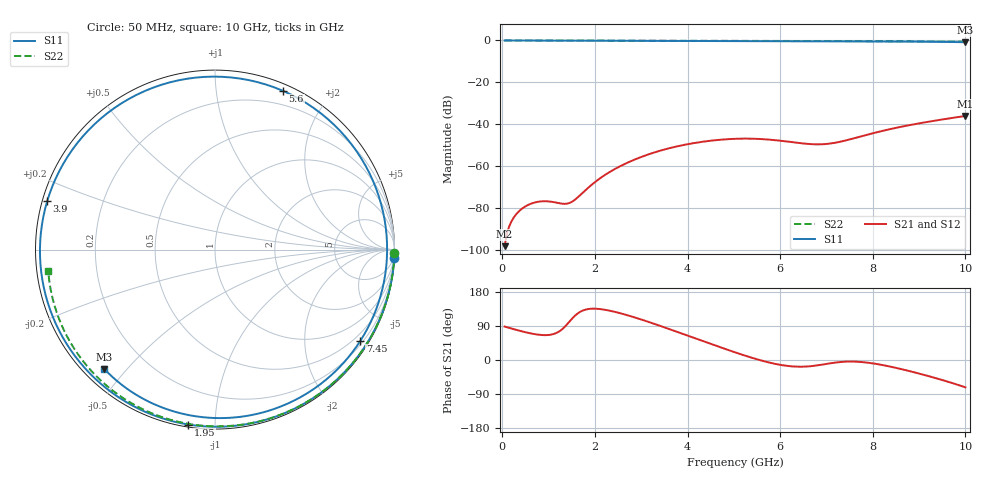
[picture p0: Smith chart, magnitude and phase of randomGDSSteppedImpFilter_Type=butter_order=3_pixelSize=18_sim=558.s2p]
! freq	dB(S11)	phase(S11)	dB(S12)	phase(S12)
!  dB(S21)	phase(S21)	dB(S22)	phase(S22)
!S-par simulation data
#  GHz  S  DB  R 50
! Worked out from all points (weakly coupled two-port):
!   200 points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, 50 MHz to 10 GHz, reference 50 ohm
!   highest |S21| = -35.97 dB at 10 GHz (marker M1); lowest = -98.0 dB at 50 MHz (marker M2)
!   lowest |S11| = -0.9 dB at 10 GHz (marker M3), VSWR 20.45, Z = 2.91 - j21.8 ohm
!   |S11| at or under -10 dB: nowhere
!   |S22| runs from -0.6 to 0.0 dB; largest |S21 - S12| = 0
!   S11 on the Smith chart (normalised r, x): 50 MHz: 0, -44; 1.95 GHz: 0.01, -0.86; 3.9 GHz: 0.01, +0.14; 5.6 GHz: 0.06, +1.51; 7.45 GHz: 0.29, -3.46; 10 GHz: 0.06, -0.44
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0.05  -0.00 -2.6  -97.96 88.3  -97.96 88.3  -0.00 -1.0
0.5  -0.04 -25.9  -79.00 73.3  -79.00 73.3  -0.01 -10.0
0.75  -0.05 -38.7  -76.91 67.3  -76.91 67.3  -0.02 -15.0
1  -0.07 -51.4  -76.65 66.0  -76.65 66.0  -0.03 -20.0
1.4  -0.09 -71.5  -77.70 94.3  -77.70 94.3  -0.04 -27.9
1.75  -0.11 -88.9  -72.26 131.1  -72.26 131.1  -0.04 -34.7
1.95  -0.12 -98.7  -68.36 135.5  -68.36 135.5  -0.05 -38.5
2.6  -0.16 -130.4  -59.28 121.7  -59.28 121.7  -0.07 -50.8
3  -0.18 -150.0  -55.49 106.9  -55.49 106.9  -0.08 -58.2
3.4  -0.21 -170.1  -52.55 90.4  -52.55 90.4  -0.09 -65.5
3.9  -0.24 164.0  -49.84 68.8  -49.84 68.8  -0.10 -74.4
4.45  -0.27 133.9  -47.87 44.8  -47.87 44.8  -0.12 -83.9
5.05  -0.31 99.3  -46.82 19.3  -46.82 19.3  -0.14 -94.0
5.6  -0.33 66.8  -46.96 -1.6  -46.96 -1.6  -0.17 -103.1
6.15  -0.35 34.8  -48.12 -15.5  -48.12 -15.5  -0.20 -111.9
6.7  -0.36 4.7  -49.42 -15.8  -49.42 -15.8  -0.23 -120.7
7.05  -0.37 -13.1  -49.17 -9.3  -49.17 -9.3  -0.26 -126.1
7.45  -0.39 -32.1  -47.43 -4.2  -47.43 -4.2  -0.29 -132.4
7.9  -0.42 -51.7  -44.78 -7.2  -44.78 -7.2  -0.33 -139.3
8.35  -0.47 -69.8  -42.35 -16.7  -42.35 -16.7  -0.37 -146.3
9.2  -0.61 -101.6  -38.71 -42.4  -38.71 -42.4  -0.47 -159.7
10  -0.85 -132.8  -35.97 -72.2  -35.97 -72.2  -0.57 -172.6
